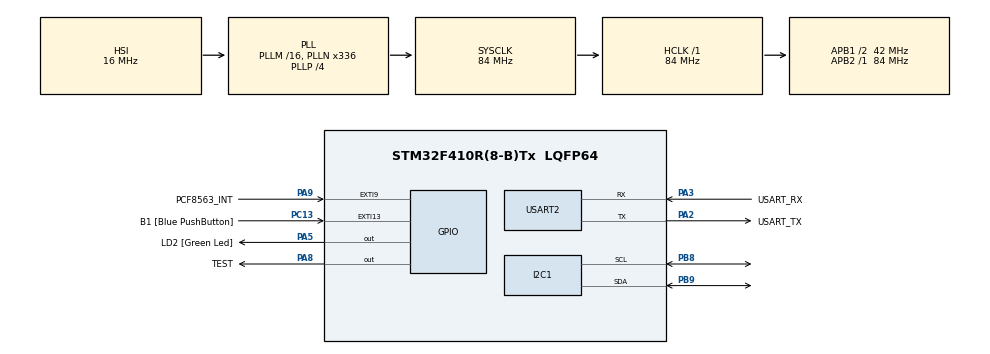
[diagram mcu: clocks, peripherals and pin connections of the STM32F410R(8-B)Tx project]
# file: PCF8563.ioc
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Dma.I2C1_RX.0.Direction=DMA_PERIPH_TO_MEMORY
Dma.I2C1_RX.0.FIFOMode=DMA_FIFOMODE_DISABLE
Dma.I2C1_RX.0.Instance=DMA1_Stream0
Dma.I2C1_RX.0.MemDataAlignment=DMA_MDATAALIGN_BYTE
Dma.I2C1_RX.0.MemInc=DMA_MINC_ENABLE
Dma.I2C1_RX.0.Mode=DMA_NORMAL
Dma.I2C1_RX.0.PeriphDataAlignment=DMA_PDATAALIGN_BYTE
Dma.I2C1_RX.0.PeriphInc=DMA_PINC_DISABLE
Dma.I2C1_RX.0.Priority=DMA_PRIORITY_LOW
Dma.I2C1_TX.1.Direction=DMA_MEMORY_TO_PERIPH
Dma.I2C1_TX.1.FIFOMode=DMA_FIFOMODE_DISABLE
Dma.I2C1_TX.1.Instance=DMA1_Stream1
Dma.I2C1_TX.1.MemDataAlignment=DMA_MDATAALIGN_BYTE
Dma.I2C1_TX.1.MemInc=DMA_MINC_ENABLE
Dma.I2C1_TX.1.Mode=DMA_NORMAL
Dma.I2C1_TX.1.PeriphDataAlignment=DMA_PDATAALIGN_BYTE
Dma.I2C1_TX.1.PeriphInc=DMA_PINC_DISABLE
Dma.I2C1_TX.1.Priority=DMA_PRIORITY_LOW
Dma.Request0=I2C1_RX
Dma.Request1=I2C1_TX
I2C1.I2C_Mode=I2C_Fast
Mcu.Family=STM32F4
Mcu.Name=STM32F410R(8-B)Tx
Mcu.Package=LQFP64
NVIC.DMA1_Stream0_IRQn=true\:0\:0\:false\:false\:true\:false\:true
NVIC.DMA1_Stream1_IRQn=true\:0\:0\:false\:false\:true\:false\:true
NVIC.EXTI9_5_IRQn=true\:0\:0\:false\:false\:true\:true\:true
NVIC.PriorityGroup=NVIC_PRIORITYGROUP_0
PA13.GPIO_Label=TMS
PA13.Mode=Serial_Wire
PA13.Signal=SYS_JTMS-SWDIO
PA14.GPIO_Label=TCK
PA14.Mode=Serial_Wire
PA14.Signal=SYS_JTCK-SWCLK
PA2.GPIO_Label=USART_TX
PA2.Mode=Asynchronous
PA2.Signal=USART2_TX
PA3.GPIO_Label=USART_RX
PA3.Mode=Asynchronous
PA3.Signal=USART2_RX
PA5.GPIO_Label=LD2 [Green Led]
PA5.Signal=GPIO_Output
PA8.GPIO_Label=TEST
PA8.Signal=GPIO_Output
PA9.GPIO_Label=PCF8563_INT
PA9.Signal=GPXTI9
PB3.GPIO_Label=SWO
PB3.Signal=SYS_JTDO-SWO
PB8.Mode=I2C
PB8.Signal=I2C1_SCL
PB9.Mode=I2C
PB9.Signal=I2C1_SDA
PC13-ANTI_TAMP.GPIO_Label=B1 [Blue PushButton]
PC13-ANTI_TAMP.GPIO_ModeDefaultEXTI=GPIO_MODE_IT_FALLING
PC13-ANTI_TAMP.Signal=GPXTI13
PC14-OSC32_IN.Mode=LSE-External-Oscillator
PC14-OSC32_IN.Signal=RCC_OSC32_IN
PC15-OSC32_OUT.Mode=LSE-External-Oscillator
PC15-OSC32_OUT.Signal=RCC_OSC32_OUT
PH0\ -\ OSC_IN.Mode=HSE-External-Clock-Source
PH0\ -\ OSC_IN.Signal=RCC_OSC_IN
PH1\ -\ OSC_OUT.Mode=HSE-External-Clock-Source
PH1\ -\ OSC_OUT.Signal=RCC_OSC_OUT
ProjectManager.HeapSize=0x200
ProjectManager.StackSize=0x400
ProjectManager.TargetToolchain=STM32CubeIDE
RCC.48MHZClocksFreq_Value=84000000
RCC.AHBFreq_Value=84000000
RCC.APB1CLKDivider=RCC_HCLK_DIV2
RCC.APB1Freq_Value=42000000
RCC.APB1TimFreq_Value=84000000
RCC.APB2Freq_Value=84000000
RCC.APB2TimFreq_Value=84000000
RCC.CortexFreq_Value=84000000
RCC.FLatency-AdvancedSettings=FLASH_LATENCY_2
RCC.HCLKFreq_Value=84000000
RCC.HSE_VALUE=8000000
RCC.HSI_VALUE=16000000
RCC.PLLN=336
RCC.PLLP=RCC_PLLP_DIV4
RCC.SYSCLKFreq_VALUE=84000000
RCC.SYSCLKSource=RCC_SYSCLKSOURCE_PLLCLK
RCC.VCOOutputFreq_Value=336000000
USART2.VirtualMode=VM_ASYNC
board=NUCLEO-F410RB

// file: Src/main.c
/* USER CODE BEGIN Header */
/**
  ******************************************************************************
  * @file           : main.c
  * @brief          : Main program body
  ******************************************************************************
  * @attention
  *
  * <h2><center>&copy; Copyright (c) 2019 STMicroelectronics.
  * All rights reserved.</center></h2>
  *
  * This software component is licensed by ST under BSD 3-Clause license,
  * the "License"; You may not use this file except in compliance with the
  * License. You may obtain a copy of the License at:
  *                        opensource.org/licenses/BSD-3-Clause
  *
  ******************************************************************************
  *
  *  Created on: 5.09.2019
  *      Author: Mateusz Salamon
  *		Contact: mateusz@msalamon.pl
  *
  *      Website: https://msalamon.pl/dalsze-zmagania-z-rtc-ds1307-i-pcf8563-na-stm32/
  *      GitHub: https://github.com/lamik/PCF8563_RTC_STM32_HAL
  */
/* USER CODE END Header */

#include "main.h"
#include "dma.h"
#include "i2c.h"
#include "usart.h"
#include "gpio.h"

/* USER CODE BEGIN Includes */
#include "PCF8563.h"
#include "stdio.h"
/* USER CODE END Includes */

/* USER CODE BEGIN PV */
RTCDateTime r;		// Date and Time variable
uint8_t Message[32]; // UART message
uint8_t MessageSize;
/* USER CODE END PV */

void SystemClock_Config(void);

int main(void)
{

  /* MCU Configuration--------------------------------------------------------*/

  /* Reset of all peripherals, Initializes the Flash interface and the Systick. */
  HAL_Init();

  /* Configure the system clock */
  SystemClock_Config();

  /* Initialize all configured peripherals */
  MX_GPIO_Init();
  MX_DMA_Init();
  MX_USART2_UART_Init();
  MX_I2C1_Init();
  /* USER CODE BEGIN 2 */
  PCF8563_Init(&hi2c1);
  uint32_t TimerUART = HAL_GetTick();
  /* USER CODE END 2 */

  /* Infinite loop */
  /* USER CODE BEGIN WHILE */
  while (1)
  {
	  if((HAL_GetTick() - TimerUART) > 1000)
	  {
		  MessageSize = sprintf(Message, "%02d:%02d:%02d\n\r", r.Hour, r.Minute, r.Second);
		  HAL_UART_Transmit(&huart2, Message, MessageSize, 1000);
		  TimerUART = HAL_GetTick();
	  }
    /* USER CODE END WHILE */

  }
}

void SystemClock_Config(void)
{
  RCC_OscInitTypeDef RCC_OscInitStruct = {0};
  RCC_ClkInitTypeDef RCC_ClkInitStruct = {0};

  /** Configure the main internal regulator output voltage
  */
  __HAL_RCC_PWR_CLK_ENABLE();
  __HAL_PWR_VOLTAGESCALING_CONFIG(PWR_REGULATOR_VOLTAGE_SCALE1);
  /** Initializes the CPU, AHB and APB busses clocks
  */
  RCC_OscInitStruct.OscillatorType = RCC_OSCILLATORTYPE_HSI;
  RCC_OscInitStruct.HSIState = RCC_HSI_ON;
  RCC_OscInitStruct.HSICalibrationValue = RCC_HSICALIBRATION_DEFAULT;
  RCC_OscInitStruct.PLL.PLLState = RCC_PLL_ON;
  RCC_OscInitStruct.PLL.PLLSource = RCC_PLLSOURCE_HSI;
  RCC_OscInitStruct.PLL.PLLM = 16;
  RCC_OscInitStruct.PLL.PLLN = 336;
  RCC_OscInitStruct.PLL.PLLP = RCC_PLLP_DIV4;
  RCC_OscInitStruct.PLL.PLLQ = 4;
  RCC_OscInitStruct.PLL.PLLR = 2;
  if (HAL_RCC_OscConfig(&RCC_OscInitStruct) != HAL_OK)
  {
    Error_Handler();
  }
  /** Initializes the CPU, AHB and APB busses clocks
  */
  RCC_ClkInitStruct.ClockType = RCC_CLOCKTYPE_HCLK|RCC_CLOCKTYPE_SYSCLK
                              |RCC_CLOCKTYPE_PCLK1|RCC_CLOCKTYPE_PCLK2;
  RCC_ClkInitStruct.SYSCLKSource = RCC_SYSCLKSOURCE_PLLCLK;
  RCC_ClkInitStruct.AHBCLKDivider = RCC_SYSCLK_DIV1;
  RCC_ClkInitStruct.APB1CLKDivider = RCC_HCLK_DIV2;
  RCC_ClkInitStruct.APB2CLKDivider = RCC_HCLK_DIV1;

  if (HAL_RCC_ClockConfig(&RCC_ClkInitStruct, FLASH_LATENCY_2) != HAL_OK)
  {
    Error_Handler();
  }
}

/* USER CODE BEGIN 4 */
#ifdef PCF8563_USE_DMA
void HAL_GPIO_EXTI_Callback(uint16_t GPIO_Pin)
{
	if(GPIO_Pin == PCF8563_INT_Pin)
	{
		PCF8563_ReceiveDateTimeDMA();
	}
}

void HAL_I2C_MemRxCpltCallback(I2C_HandleTypeDef *hi2c)
{
	PCF8563_CalculateDateTime(&r);
}
#else
void HAL_GPIO_EXTI_Callback(uint16_t GPIO_Pin)
{
	if(GPIO_Pin == PCF8563_INT_Pin)
	{
		PCF8563_GetDateTime(&r);
	}
}
#endif
/* USER CODE END 4 */

void Error_Handler(void)
{
}

/************************ (C) COPYRIGHT STMicroelectronics *****END OF FILE****/
